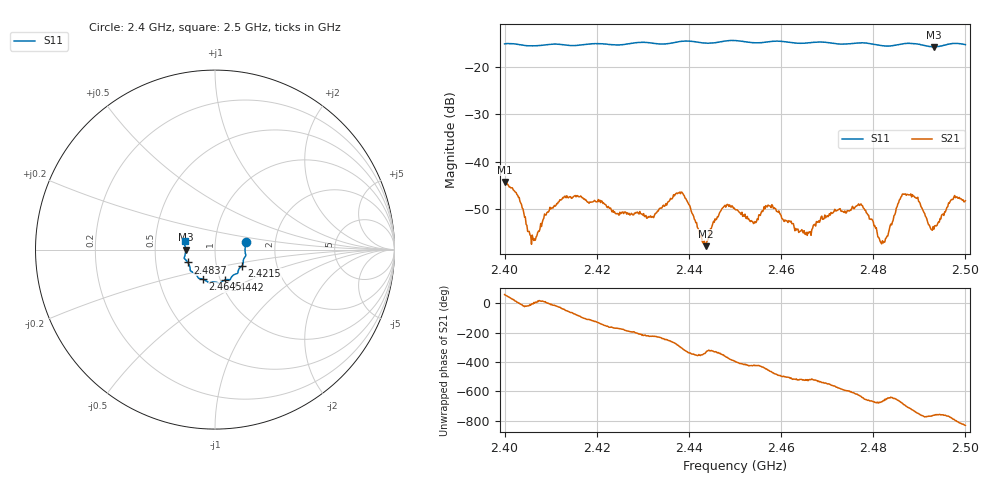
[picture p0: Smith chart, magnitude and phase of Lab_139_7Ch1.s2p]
# Hz S RI R 50
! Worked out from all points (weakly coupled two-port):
!   601 points, 2.4 GHz to 2.5 GHz, reference 50 ohm
!   highest |S21| = -44.27 dB at 2.4 GHz (marker M1); lowest = -57.9 dB at 2.4437 GHz (marker M2)
!   lowest |S11| = -15.7 dB at 2.4932 GHz (marker M3), VSWR 1.39, Z = 35.9 - j0.056 ohm
!   |S11| at or under -10 dB: start of sweep to end of sweep
!   S12 and S22 are empty: the file has one direction only
!   S11 on the Smith chart (normalised r, x): 2.4 GHz: 1.41, +0.12; 2.4215 GHz: 1.33, -0.25; 2.4442 GHz: 1.05, -0.37; 2.4645 GHz: 0.83, -0.29; 2.4837 GHz: 0.73, -0.11; 2.5 GHz: 0.71, +0.07
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2.4e9  0.1712 0.0401  0.00314 0.00525  0 0  0 0
2.406333e9  0.1678 -0.00516  0.00146 0.00012  0 0  0 0
2.4125e9  0.1681 -0.0396  0.00315 -0.00255  0 0  0 0
2.416667e9  0.1567 -0.0698  -0.000438 -0.00423  0 0  0 0
2.4215e9  0.1509 -0.0897  -0.00312 -0.0019  0 0  0 0
2.433333e9  0.1083 -0.1384  -0.00192 0.0023  0 0  0 0
2.4385e9  0.0856 -0.1667  0.00279 0.00382  0 0  0 0
2.443667e9  0.0612 -0.1682  0.00115 0.000555  0 0  0 0
2.444167e9  0.0566 -0.1694  0.0012 0.000902  0 0  0 0
2.447333e9  0.0331 -0.1835  0.00321 0.000463  0 0  0 0
2.45e9  0.0252 -0.1891  0.00254 -0.00183  0 0  0 0
2.454167e9  -0.00011 -0.1807  0.00105 -0.00198  0 0  0 0
2.457667e9  -0.0267 -0.1842  -0.000844 -0.00327  0 0  0 0
2.4645e9  -0.0658 -0.1659  -0.00179 -0.00067  0 0  0 0
2.466667e9  -0.0827 -0.1621  -0.00175 -0.000775  0 0  0 0
2.477167e9  -0.1355 -0.1192  0.000104 0.00349  0 0  0 0
2.481667e9  -0.141 -0.0929  0.000964 0.000998  0 0  0 0
2.483333e9  -0.1489 -0.0748  0.000506 0.00171  0 0  0 0
2.483667e9  -0.1509 -0.0716  0.00056 0.00202  0 0  0 0
2.486833e9  -0.1697 -0.0511  0.00403 0.00204  0 0  0 0
2.493167e9  -0.1636 -0.000758  0.00143 -0.0013  0 0  0 0
2.5e9  -0.1653 0.0506  -0.0015 -0.00356  0 0  0 0
